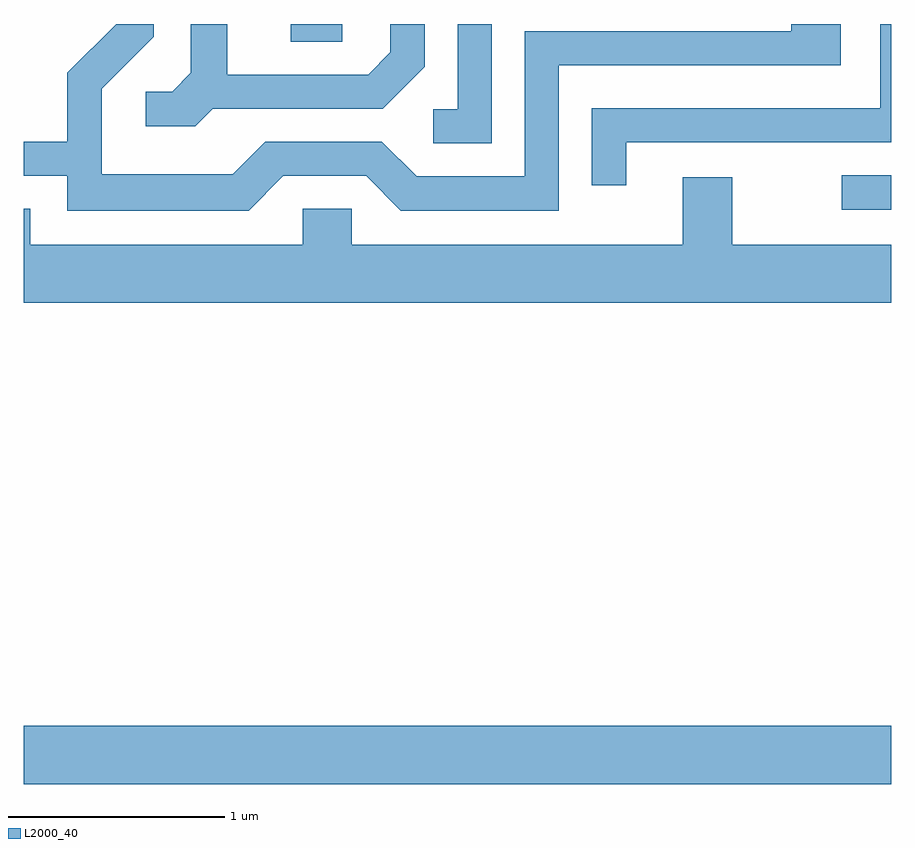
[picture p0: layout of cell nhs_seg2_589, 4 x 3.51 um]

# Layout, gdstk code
import gdstk
lib = gdstk.Library(unit=1e-6, precision=1e-09)
def R(c, l, rs):  # rectangles x0, y0, x1, y1
    for r in rs: c.add(gdstk.rectangle(r[:2], r[2:], *l))
def P(c, l, *ps):  # polygons
    for p in ps: c.add(gdstk.Polygon(p, *l))
L2000_40 = (2000, 40)

nhs_seg2_589 = lib.new_cell('nhs_seg2_589')
R(nhs_seg2_589, L2000_40, [(201.611,1068.296,205.611,1068.564), (205.383,1070.946,205.611,1071.104), (202.841,1071.721,203.079,1071.802)])
P(nhs_seg2_589, L2000_40, [(204.389,1071.256),(205.611,1071.256),(205.611,1071.802),(205.561,1071.802),(205.561,1071.414),(204.231,1071.414),(204.231,1071.058),(204.389,1071.058)],
  [(202.482,1071.411),(203.267,1071.411),(203.459,1071.604),(203.459,1071.802),(203.301,1071.802),(203.301,1071.672),(203.199,1071.569),(202.549,1071.569),(202.549,1071.802),(202.381,1071.802),(202.381,1071.577),(202.294,1071.489),(202.173,1071.489),(202.173,1071.331),(202.402,1071.331)],
  [(203.769,1071.802),(203.611,1071.802),(203.611,1071.409),(203.498,1071.409),(203.498,1071.251),(203.769,1071.251)],
  [(202.807,1071.101),(203.189,1071.101),(203.349,1070.941),(204.079,1070.941),(204.079,1071.611),(205.379,1071.611),(205.379,1071.802),(205.151,1071.802),(205.151,1071.769),(203.921,1071.769),(203.921,1071.099),(203.422,1071.099),(203.262,1071.259),(202.724,1071.259),(202.574,1071.109),(201.969,1071.109),(201.969,1071.504),(202.209,1071.744),(202.209,1071.802),(202.036,1071.802),(201.811,1071.577),(201.811,1071.259),(201.611,1071.259),(201.611,1071.101),(201.811,1071.101),(201.811,1070.941),(202.647,1070.941)],
  [(205.611,1070.784),(204.879,1070.784),(204.879,1071.094),(204.651,1071.094),(204.651,1070.784),(203.124,1070.784),(203.124,1070.949),(202.896,1070.949),(202.896,1070.784),(201.639,1070.784),(201.639,1070.949),(201.611,1070.949),(201.611,1070.516),(205.611,1070.516)])

lib.write_gds('nhs_seg2_589.gds')
